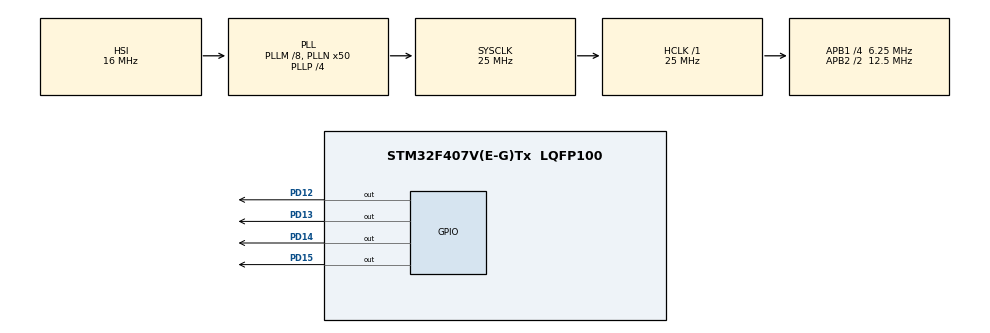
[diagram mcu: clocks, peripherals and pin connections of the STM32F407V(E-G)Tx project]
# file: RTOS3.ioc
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Mcu.Family=STM32F4
Mcu.Name=STM32F407V(E-G)Tx
Mcu.Package=LQFP100
NVIC.PriorityGroup=NVIC_PRIORITYGROUP_4
NVIC.TIM1_UP_TIM10_IRQn=true\:0\:0\:false\:false\:true\:false\:true\:true
NVIC.TimeBase=TIM1_UP_TIM10_IRQn
NVIC.TimeBaseIP=TIM1
PD12.Signal=GPIO_Output
PD13.Signal=GPIO_Output
PD14.Signal=GPIO_Output
PD15.Signal=GPIO_Output
ProjectManager.HeapSize=0x200
ProjectManager.StackSize=0x400
ProjectManager.TargetToolchain=STM32CubeIDE
RCC.48MHZClocksFreq_Value=14285714.285714285
RCC.AHBFreq_Value=25000000
RCC.APB1CLKDivider=RCC_HCLK_DIV4
RCC.APB1Freq_Value=6250000
RCC.APB1TimFreq_Value=12500000
RCC.APB2CLKDivider=RCC_HCLK_DIV2
RCC.APB2Freq_Value=12500000
RCC.APB2TimFreq_Value=25000000
RCC.CortexFreq_Value=25000000
RCC.HCLKFreq_Value=25000000
RCC.HSE_VALUE=8000000
RCC.HSI_VALUE=16000000
RCC.LSE_VALUE=32768
RCC.PLLM=8
RCC.PLLN=50
RCC.PLLP=RCC_PLLP_DIV4
RCC.PLLQ=7
RCC.SYSCLKFreq_VALUE=25000000
RCC.SYSCLKSource=RCC_SYSCLKSOURCE_PLLCLK
RCC.VCOOutputFreq_Value=100000000
VP_SYS_VS_tim1.Mode=TIM1
board=STM32F407G-DISC1

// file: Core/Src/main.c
/* USER CODE BEGIN Header */
/**
  ******************************************************************************
  * @file           : main.c
  * @brief          : Main program body
  ******************************************************************************
  * @attention
  *
  * Copyright (c) 2024 STMicroelectronics.
  * All rights reserved.
  *
  * This software is licensed under terms that can be found in the LICENSE file
  * in the root directory of this software component.
  * If no LICENSE file comes with this software, it is provided AS-IS.
  *
  ******************************************************************************
  */
/* USER CODE END Header */
#include "main.h"

/* USER CODE BEGIN Includes */
#include "FreeRTOS.h"
#include "FreeRTOSConfig.h"
#include "task.h"

/* USER CODE END Includes */

void SystemClock_Config(void);
static void MX_GPIO_Init(void);

/* USER CODE BEGIN 0 */
void vAperiodicTask(void *pvParam)
{
	while(1)
	{
		HAL_GPIO_TogglePin(GPIOD, GPIO_PIN_13);
		HAL_GPIO_TogglePin(GPIOD, GPIO_PIN_12);
		vTaskDelay(1000 / portTICK_RATE_MS);
	}
	vTaskDelete(NULL);
}

void vPeriodicTask(void *pvParam)
{
	portTickType wakeupTime = xTaskGetTickCount();
	while(1)
	{
		HAL_GPIO_TogglePin(GPIOD, GPIO_PIN_14);
		HAL_GPIO_TogglePin(GPIOD, GPIO_PIN_15);
		vTaskDelayUntil(&wakeupTime ,1000 / portTICK_RATE_MS);
	}
	vTaskDelete(NULL);
}

/* USER CODE END 0 */

int main(void)
{

  /* USER CODE BEGIN 1 */
	BaseType_t ret;
  /* USER CODE END 1 */

  /* MCU Configuration--------------------------------------------------------*/

  /* Reset of all peripherals, Initializes the Flash interface and the Systick. */
  HAL_Init();

  /* Configure the system clock */
  SystemClock_Config();

  /* Initialize all configured peripherals */
  MX_GPIO_Init();
  /* USER CODE BEGIN 2 */
  ret = xTaskCreate(vPeriodicTask, "Periodic", configMINIMAL_STACK_SIZE, NULL, 2, NULL);
    if(ret != pdTRUE)
  	  Error_Handler();
    ret = xTaskCreate(vAperiodicTask, "Aperiodic", configMINIMAL_STACK_SIZE, NULL, 2, NULL);
    if(ret != pdTRUE)
    	  Error_Handler();

    vTaskStartScheduler();
  /* USER CODE END 2 */

  /* Infinite loop */
  while (1)
  {

  }
}

void SystemClock_Config(void)
{
  RCC_OscInitTypeDef RCC_OscInitStruct = {0};
  RCC_ClkInitTypeDef RCC_ClkInitStruct = {0};

  /** Configure the main internal regulator output voltage
  */
  __HAL_RCC_PWR_CLK_ENABLE();
  __HAL_PWR_VOLTAGESCALING_CONFIG(PWR_REGULATOR_VOLTAGE_SCALE1);

  /** Initializes the RCC Oscillators according to the specified parameters
  * in the RCC_OscInitTypeDef structure.
  */
  RCC_OscInitStruct.OscillatorType = RCC_OSCILLATORTYPE_HSI;
  RCC_OscInitStruct.HSIState = RCC_HSI_ON;
  RCC_OscInitStruct.HSICalibrationValue = RCC_HSICALIBRATION_DEFAULT;
  RCC_OscInitStruct.PLL.PLLState = RCC_PLL_ON;
  RCC_OscInitStruct.PLL.PLLSource = RCC_PLLSOURCE_HSI;
  RCC_OscInitStruct.PLL.PLLM = 8;
  RCC_OscInitStruct.PLL.PLLN = 50;
  RCC_OscInitStruct.PLL.PLLP = RCC_PLLP_DIV4;
  RCC_OscInitStruct.PLL.PLLQ = 7;
  if (HAL_RCC_OscConfig(&RCC_OscInitStruct) != HAL_OK)
  {
    Error_Handler();
  }

  /** Initializes the CPU, AHB and APB buses clocks
  */
  RCC_ClkInitStruct.ClockType = RCC_CLOCKTYPE_HCLK|RCC_CLOCKTYPE_SYSCLK
                              |RCC_CLOCKTYPE_PCLK1|RCC_CLOCKTYPE_PCLK2;
  RCC_ClkInitStruct.SYSCLKSource = RCC_SYSCLKSOURCE_PLLCLK;
  RCC_ClkInitStruct.AHBCLKDivider = RCC_SYSCLK_DIV1;
  RCC_ClkInitStruct.APB1CLKDivider = RCC_HCLK_DIV4;
  RCC_ClkInitStruct.APB2CLKDivider = RCC_HCLK_DIV2;

  if (HAL_RCC_ClockConfig(&RCC_ClkInitStruct, FLASH_LATENCY_0) != HAL_OK)
  {
    Error_Handler();
  }
}

static void MX_GPIO_Init(void)
{
  GPIO_InitTypeDef GPIO_InitStruct = {0};

  /* GPIO Ports Clock Enable */
  __HAL_RCC_GPIOD_CLK_ENABLE();

  /*Configure GPIO pin Output Level */
  HAL_GPIO_WritePin(GPIOD, GPIO_PIN_12|GPIO_PIN_13|GPIO_PIN_14|GPIO_PIN_15, GPIO_PIN_RESET);

  /*Configure GPIO pins : PD12 PD13 PD14 PD15 */
  GPIO_InitStruct.Pin = GPIO_PIN_12|GPIO_PIN_13|GPIO_PIN_14|GPIO_PIN_15;
  GPIO_InitStruct.Mode = GPIO_MODE_OUTPUT_PP;
  GPIO_InitStruct.Pull = GPIO_NOPULL;
  GPIO_InitStruct.Speed = GPIO_SPEED_FREQ_LOW;
  HAL_GPIO_Init(GPIOD, &GPIO_InitStruct);

}

void HAL_TIM_PeriodElapsedCallback(TIM_HandleTypeDef *htim)
{
  if (htim->Instance == TIM1) {
    HAL_IncTick();
  }
}

void Error_Handler(void)
{
  __disable_irq();
  while (1)
  {
  }
}
